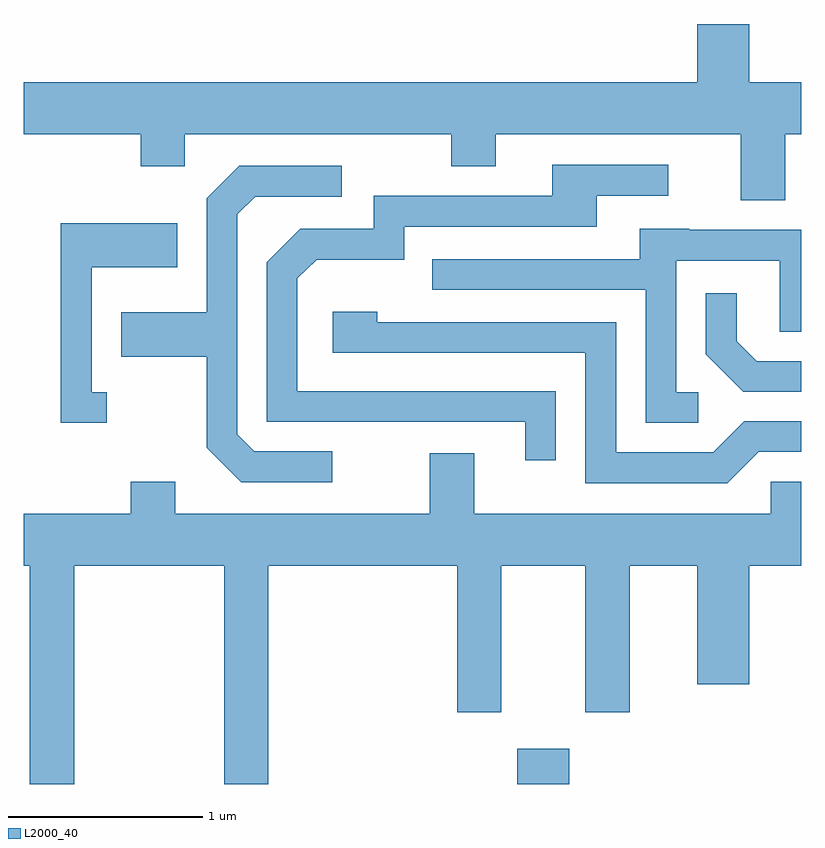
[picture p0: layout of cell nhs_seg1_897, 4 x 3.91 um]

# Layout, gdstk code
import gdstk
lib = gdstk.Library(unit=1e-6, precision=1e-09)
def R(c, l, rs):  # rectangles x0, y0, x1, y1
    for r in rs: c.add(gdstk.rectangle(r[:2], r[2:], *l))
def P(c, l, *ps):  # polygons
    for p in ps: c.add(gdstk.Polygon(p, *l))
L2000_40 = (2000, 40)

nhs_seg1_897 = lib.new_cell('nhs_seg1_897')
R(nhs_seg1_897, L2000_40, [(214.151,971.712,214.419,971.894)])
P(nhs_seg1_897, L2000_40, [(215.529,975.056),(215.611,975.056),(215.611,975.324),(215.344,975.324),(215.344,975.624),(215.076,975.624),(215.076,975.324),(211.611,975.324),(211.611,975.056),(212.211,975.056),(212.211,974.891),(212.439,974.891),(212.439,975.056),(213.811,975.056),(213.811,974.891),(214.039,974.891),(214.039,975.056),(215.301,975.056),(215.301,974.716),(215.529,974.716)],
  [(214.349,973.734),(213.019,973.734),(213.019,974.314),(213.117,974.411),(213.569,974.411),(213.569,974.581),(214.559,974.581),(214.559,974.741),(214.928,974.741),(214.928,974.899),(214.331,974.899),(214.331,974.739),(213.411,974.739),(213.411,974.569),(213.034,974.569),(212.861,974.397),(212.861,973.576),(214.191,973.576),(214.191,973.378),(214.349,973.378)],
  [(213.198,973.424),(212.797,973.424),(212.709,973.512),(212.709,974.644),(212.802,974.736),(213.248,974.736),(213.248,974.894),(212.719,974.894),(212.551,974.727),(212.551,974.139),(212.111,974.139),(212.111,973.911),(212.551,973.911),(212.551,973.444),(212.729,973.266),(213.198,973.266)],
  [(212.038,973.729),(211.959,973.729),(211.959,974.371),(212.399,974.371),(212.399,974.599),(211.801,974.599),(211.801,973.571),(212.038,973.571)],
  [(215.083,973.729),(214.969,973.729),(214.969,974.406),(215.501,974.406),(215.501,974.041),(215.611,974.041),(215.611,974.564),(215.035,974.564),(215.035,974.569),(214.781,974.569),(214.781,974.414),(213.713,974.414),(213.713,974.256),(214.811,974.256),(214.811,973.571),(215.083,973.571)],
  [(215.611,973.889),(215.382,973.889),(215.279,973.992),(215.279,974.238),(215.121,974.238),(215.121,973.924),(215.314,973.731),(215.611,973.731)],
  [(215.392,973.421),(215.611,973.421),(215.611,973.579),(215.319,973.579),(215.159,973.419),(214.659,973.419),(214.659,974.089),(213.429,974.089),(213.429,974.144),(213.201,974.144),(213.201,973.931),(214.501,973.931),(214.501,973.261),(215.232,973.261)],
  [(213.929,973.414),(213.701,973.414),(213.701,973.104),(212.389,973.104),(212.389,973.269),(212.161,973.269),(212.161,973.104),(211.611,973.104),(211.611,972.836),(211.641,972.836),(211.641,971.712),(211.869,971.712),(211.869,972.836),(212.641,972.836),(212.641,971.712),(212.869,971.712),(212.869,972.836),(213.841,972.836),(213.841,972.081),(214.069,972.081),(214.069,972.836),(214.501,972.836),(214.501,972.081),(214.729,972.081),(214.729,972.836),(215.076,972.836),(215.076,972.226),(215.344,972.226),(215.344,972.836),(215.611,972.836),(215.611,973.269),(215.456,973.269),(215.456,973.104),(213.929,973.104)])

lib.write_gds('nhs_seg1_897.gds')
